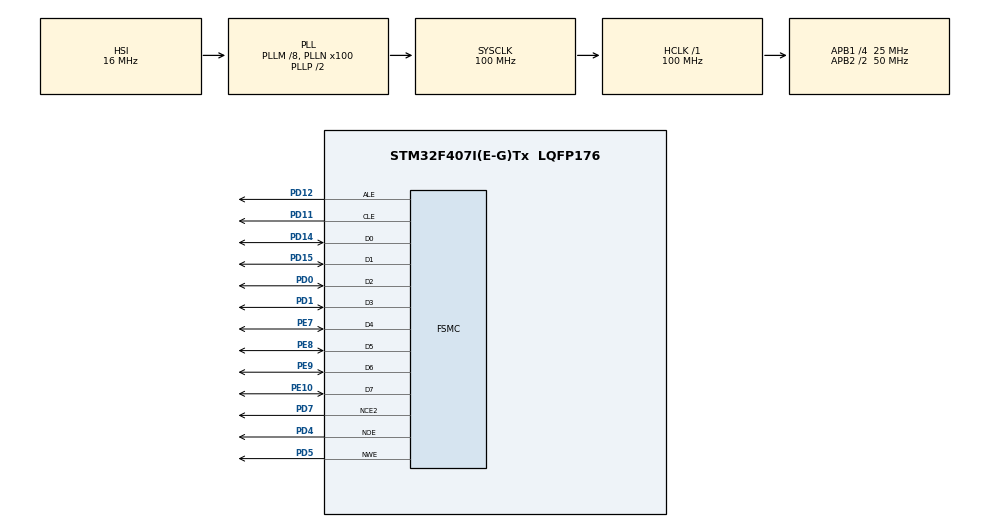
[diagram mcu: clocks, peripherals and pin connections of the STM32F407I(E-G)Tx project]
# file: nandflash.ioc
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Mcu.Family=STM32F4
Mcu.Name=STM32F407I(E-G)Tx
Mcu.Package=LQFP176
NVIC.PriorityGroup=NVIC_PRIORITYGROUP_4
PD0.Signal=FSMC_D2_DA2
PD1.Signal=FSMC_D3_DA3
PD11.Signal=FSMC_A16_CLE
PD12.Signal=FSMC_A17_ALE
PD14.Signal=FSMC_D0_DA0
PD15.Signal=FSMC_D1_DA1
PD4.Signal=FSMC_NOE
PD5.Signal=FSMC_NWE
PD7.Mode=NandChipSelect2_1
PD7.Signal=FSMC_NCE2
PE10.Signal=FSMC_D7_DA7
PE7.Signal=FSMC_D4_DA4
PE8.Signal=FSMC_D5_DA5
PE9.Signal=FSMC_D6_DA6
ProjectManager.HeapSize=0x200
ProjectManager.StackSize=0x400
ProjectManager.TargetToolchain=STM32CubeIDE
RCC.48MHZClocksFreq_Value=50000000
RCC.AHBFreq_Value=100000000
RCC.APB1CLKDivider=RCC_HCLK_DIV4
RCC.APB1Freq_Value=25000000
RCC.APB1TimFreq_Value=50000000
RCC.APB2CLKDivider=RCC_HCLK_DIV2
RCC.APB2Freq_Value=50000000
RCC.APB2TimFreq_Value=100000000
RCC.CortexFreq_Value=100000000
RCC.HCLKFreq_Value=100000000
RCC.HSE_VALUE=25000000
RCC.HSI_VALUE=16000000
RCC.LSE_VALUE=32768
RCC.PLLM=8
RCC.PLLN=100
RCC.SYSCLKFreq_VALUE=100000000
RCC.SYSCLKSource=RCC_SYSCLKSOURCE_PLLCLK
RCC.VCOOutputFreq_Value=200000000
SH.FSMC_A16_CLE.0=FSMC_CLE,8b-dmux1
SH.FSMC_A17_ALE.0=FSMC_ALE,8b-dmux1
SH.FSMC_D0_DA0.0=FSMC_D0,8b-dmux1
SH.FSMC_D1_DA1.0=FSMC_D1,8b-dmux1
SH.FSMC_D2_DA2.0=FSMC_D2,8b-dmux1
SH.FSMC_D3_DA3.0=FSMC_D3,8b-dmux1
SH.FSMC_D4_DA4.0=FSMC_D4,8b-dmux1
SH.FSMC_D5_DA5.0=FSMC_D5,8b-dmux1
SH.FSMC_D6_DA6.0=FSMC_D6,8b-dmux1
SH.FSMC_D7_DA7.0=FSMC_D7,8b-dmux1
SH.FSMC_NOE.0=FSMC_NOE,8b-dmux1
SH.FSMC_NWE.0=FSMC_NWE,8b-dmux1
board=custom

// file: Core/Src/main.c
/* USER CODE BEGIN Header */
/**
  ******************************************************************************
  * @file           : main.c
  * @brief          : Main program body
  ******************************************************************************
  */
/* USER CODE END Header */

#include "main.h"
#include <string.h>  // For memset

NAND_HandleTypeDef hnand1;

void SystemClock_Config(void);
static void MX_GPIO_Init(void);
static void MX_FSMC_Init(void);
/* USER CODE BEGIN PFP */
void NAND_Test();
/* USER CODE END PFP */

int main(void)
{
  HAL_Init();
  SystemClock_Config();
  MX_GPIO_Init();
  MX_FSMC_Init();

  /* USER CODE BEGIN 2 */
  NAND_Test();  // Run test
  /* USER CODE END 2 */

  while (1)
  {
    /* USER CODE BEGIN WHILE */
    // Application loop
    /* USER CODE END WHILE */
  }
}

/* USER CODE BEGIN 4 */

void NAND_Test(void)
{
  uint8_t txBuffer[2048];  // NAND page size
  uint8_t rxBuffer[2048];
  NAND_AddressTypeDef nandAddress;

  // Fill transmit buffer with pattern
  for (uint16_t i = 0; i < sizeof(txBuffer); i++)
  {
    txBuffer[i] = i % 256;
  }

  // Address: Block 0, Page 0, Plane 0
  nandAddress.Plane = 0;
  nandAddress.Block = 0;
  nandAddress.Page = 0;

  // Erase block
  if (HAL_NAND_Erase_Block(&hnand1, &nandAddress) != HAL_OK)
  {
    Error_Handler();
  }

  // Write data
  if (HAL_NAND_Write_Page_8b(&hnand1, &nandAddress, txBuffer, 1) != HAL_OK)
  {
    Error_Handler();
  }

  // Clear RX buffer
  memset(rxBuffer, 0, sizeof(rxBuffer));

  // Read data
  if (HAL_NAND_Read_Page_8b(&hnand1, &nandAddress, rxBuffer, 1) != HAL_OK)
  {
    Error_Handler();
  }

  // Verify data
  for (uint16_t i = 0; i < sizeof(txBuffer); i++)
  {
    if (txBuffer[i] != rxBuffer[i])
    {
      Error_Handler();  // Mismatch
    }
  }

  // Optional: Success LED toggle or UART print
}

/* USER CODE END 4 */

void SystemClock_Config(void)
{
  RCC_OscInitTypeDef RCC_OscInitStruct = {0};
  RCC_ClkInitTypeDef RCC_ClkInitStruct = {0};

  __HAL_RCC_PWR_CLK_ENABLE();
  __HAL_PWR_VOLTAGESCALING_CONFIG(PWR_REGULATOR_VOLTAGE_SCALE1);

  RCC_OscInitStruct.OscillatorType = RCC_OSCILLATORTYPE_HSI;
  RCC_OscInitStruct.HSIState = RCC_HSI_ON;
  RCC_OscInitStruct.HSICalibrationValue = RCC_HSICALIBRATION_DEFAULT;
  RCC_OscInitStruct.PLL.PLLState = RCC_PLL_ON;
  RCC_OscInitStruct.PLL.PLLSource = RCC_PLLSOURCE_HSI;
  RCC_OscInitStruct.PLL.PLLM = 8;
  RCC_OscInitStruct.PLL.PLLN = 100;
  RCC_OscInitStruct.PLL.PLLP = RCC_PLLP_DIV2;
  RCC_OscInitStruct.PLL.PLLQ = 4;
  HAL_RCC_OscConfig(&RCC_OscInitStruct);

  RCC_ClkInitStruct.ClockType = RCC_CLOCKTYPE_HCLK | RCC_CLOCKTYPE_SYSCLK
                              | RCC_CLOCKTYPE_PCLK1 | RCC_CLOCKTYPE_PCLK2;
  RCC_ClkInitStruct.SYSCLKSource = RCC_SYSCLKSOURCE_PLLCLK;
  RCC_ClkInitStruct.AHBCLKDivider = RCC_SYSCLK_DIV1;
  RCC_ClkInitStruct.APB1CLKDivider = RCC_HCLK_DIV4;
  RCC_ClkInitStruct.APB2CLKDivider = RCC_HCLK_DIV2;

  HAL_RCC_ClockConfig(&RCC_ClkInitStruct, FLASH_LATENCY_3);
}

/**
  * @brief GPIO Initialization
  */
static void MX_GPIO_Init(void)
{
  __HAL_RCC_GPIOE_CLK_ENABLE();
  __HAL_RCC_GPIOD_CLK_ENABLE();
}

/**
  * @brief FSMC Initialization
  */
static void MX_FSMC_Init(void)
{
  FSMC_NAND_PCC_TimingTypeDef ComSpaceTiming = {0};
  FSMC_NAND_PCC_TimingTypeDef AttSpaceTiming = {0};

  hnand1.Instance = FSMC_NAND_DEVICE;
  hnand1.Init.NandBank = FSMC_NAND_BANK2;
  hnand1.Init.Waitfeature = FSMC_NAND_PCC_WAIT_FEATURE_DISABLE;
  hnand1.Init.MemoryDataWidth = FSMC_NAND_PCC_MEM_BUS_WIDTH_8;
  hnand1.Init.EccComputation = FSMC_NAND_ECC_DISABLE;
  hnand1.Init.ECCPageSize = FSMC_NAND_ECC_PAGE_SIZE_512BYTE;
  hnand1.Init.TCLRSetupTime = 1;
  hnand1.Init.TARSetupTime = 1;

  hnand1.Config.PageSize = 2048;
  hnand1.Config.SpareAreaSize = 64;
  hnand1.Config.BlockSize = 64;
  hnand1.Config.BlockNbr = 2048;
  hnand1.Config.PlaneNbr = 1;
  hnand1.Config.PlaneSize = 1024;
  hnand1.Config.ExtraCommandEnable = DISABLE;

  ComSpaceTiming.SetupTime = 2;
  ComSpaceTiming.WaitSetupTime = 2;
  ComSpaceTiming.HoldSetupTime = 2;
  ComSpaceTiming.HiZSetupTime = 2;
  AttSpaceTiming = ComSpaceTiming;

  if (HAL_NAND_Init(&hnand1, &ComSpaceTiming, &AttSpaceTiming) != HAL_OK)
  {
    Error_Handler();
  }
}

/**
  * @brief Error Handler
  */
void Error_Handler(void)
{
  __disable_irq();
  while (1)
  {
    // Optional: Blink LED to indicate error
  }
}
